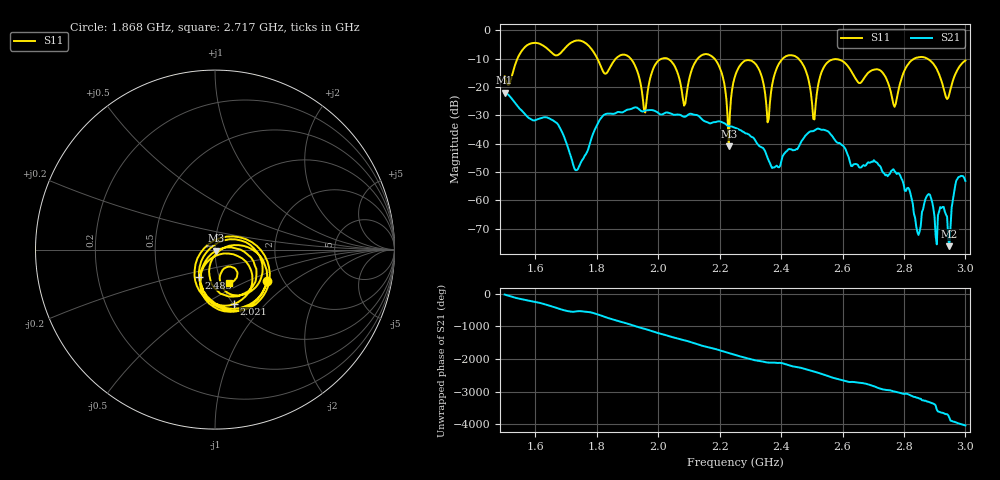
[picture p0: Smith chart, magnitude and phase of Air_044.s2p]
# HZ S RI R 50
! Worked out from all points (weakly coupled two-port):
!   404 points, 1.5 GHz to 3 GHz, reference 50 ohm
!   highest |S21| = -22.05 dB at 1.5 GHz (marker M1); lowest = -76.2 dB at 2.948 GHz (marker M2)
!   lowest |S11| = -41.0 dB at 2.23 GHz (marker M3), VSWR 1.02, Z = 50.6 - j0.68 ohm
!   |S11| at or under -10 dB: 2.183 GHz to 2.406 GHz (223.4 MHz wide, 9.74 % of centre); 2.456 GHz to 2.835 GHz (378.2 MHz wide, 14.3 % of centre); 2.875 GHz to end of sweep (the widest 3 of 7)
!   S12 and S22 are empty: the file has one direction only
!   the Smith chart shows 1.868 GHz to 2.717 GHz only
!   S11 on the Smith chart (normalised r, x): 1.868 GHz: 1.66, -0.65; 2.021 GHz: 1.01, -0.68; 2.483 GHz: 0.80, -0.26; 2.717 GHz: 1.09, -0.42
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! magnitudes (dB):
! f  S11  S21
! 1.5 GHz  -16.3  -22.1
! 1.753 GHz  -3.9  -45.7
! 1.868 GHz  -9.4  -28.8
! 1.958 GHz  -29.0  -28.4
! 2.002 GHz  -10.6  -29.4
! 2.021 GHz  -9.9  -29.3
! 2.084 GHz  -26.6  -30.6
! 2.177 GHz  -9.5  -32.6
! 2.23 GHz  -41.0  -33.8
! 2.252 GHz  -15.7  -34.5
! 2.315 GHz  -11.7  -38.7
! 2.356 GHz  -32.5  -45.0
! 2.375 GHz  -17.3  -48.4
! 2.483 GHz  -15.0  -36.8
! 2.501 GHz  -26.3  -35.6
! 2.561 GHz  -10.6  -36.7
! 2.717 GHz  -13.9  -47.5
! 2.751 GHz  -19.3  -51.0
! 2.847 GHz  -9.6  -72.2
! 2.862 GHz  -9.5  -63.1
! 2.948 GHz  -22.5  -76.2
! 3 GHz  -10.7  -53.2
